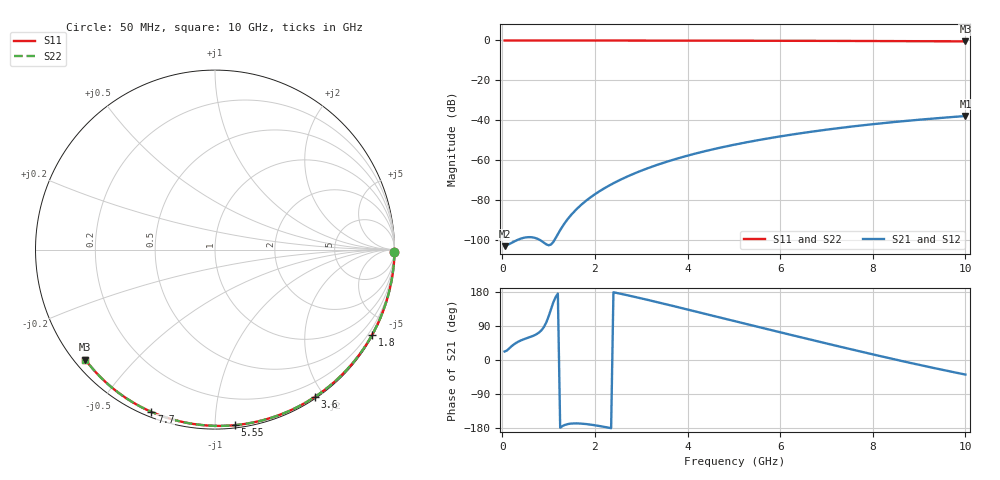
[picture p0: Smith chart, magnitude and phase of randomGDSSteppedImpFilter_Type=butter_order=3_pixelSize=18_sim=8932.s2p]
! freq	dB(S11)	phase(S11)	dB(S12)	phase(S12)
!  dB(S21)	phase(S21)	dB(S22)	phase(S22)
!S-par simulation data
#  GHz  S  DB  R 50
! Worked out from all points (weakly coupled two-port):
!   200 points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, 50 MHz to 10 GHz, reference 50 ohm
!   highest |S21| = -37.87 dB at 10 GHz (marker M1); lowest = -103.1 dB at 50 MHz (marker M2)
!   lowest |S11| = -0.5 dB at 10 GHz (marker M3), VSWR 36.95, Z = 1.54 - j18.3 ohm
!   |S11| at or under -10 dB: nowhere
!   |S22| runs from -0.5 to 0.0 dB; largest |S21 - S12| = 0
!   S11 on the Smith chart (normalised r, x): 50 MHz: open; 1.8 GHz: 0.03, -3.92; 3.6 GHz: 0.02, -1.88; 5.55 GHz: 0.02, -1.12; 7.7 GHz: 0.02, -0.68; 10 GHz: 0.03, -0.37
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0.05  -0.00 -0.8  -103.10 22.4  -103.10 22.4  -0.00 -0.8
0.45  -0.01 -7.3  -98.98 54.1  -98.98 54.1  -0.01 -7.3
0.9  -0.02 -14.5  -101.38 87.3  -101.38 87.3  -0.02 -14.5
1.75  -0.04 -27.9  -81.46 -168.3  -81.46 -168.3  -0.04 -27.9
1.8  -0.04 -28.6  -80.50 -168.9  -80.50 -168.9  -0.04 -28.6
1.85  -0.04 -29.4  -79.59 -169.6  -79.59 -169.6  -0.04 -29.4
2.05  -0.04 -32.5  -76.31 -173.2  -76.31 -173.2  -0.04 -32.5
2.25  -0.05 -35.6  -73.46 -177.6  -73.46 -177.6  -0.05 -35.6
2.55  -0.05 -40.2  -69.81 174.9  -69.81 174.9  -0.05 -40.2
2.95  -0.06 -46.3  -65.73 164.0  -65.73 164.0  -0.06 -46.3
3.4  -0.07 -53.0  -61.92 151.1  -61.92 151.1  -0.07 -53.0
3.6  -0.08 -55.9  -60.43 145.2  -60.43 145.2  -0.08 -55.9
3.9  -0.08 -60.3  -58.38 136.2  -58.38 136.2  -0.08 -60.3
4.3  -0.09 -66.1  -55.94 124.2  -55.94 124.2  -0.09 -66.1
5.05  -0.12 -76.6  -52.06 101.6  -52.06 101.6  -0.12 -76.6
5.55  -0.14 -83.4  -49.86 86.6  -49.86 86.6  -0.14 -83.4
6.1  -0.16 -90.8  -47.72 70.2  -47.72 70.2  -0.16 -90.8
6.7  -0.19 -98.6  -45.65 52.5  -45.65 52.5  -0.19 -98.6
7.7  -0.25 -111.4  -42.74 23.4  -42.74 23.4  -0.25 -111.4
8.35  -0.31 -119.5  -41.14 5.0  -41.14 5.0  -0.31 -119.5
9.2  -0.38 -129.9  -39.34 -18.0  -39.34 -18.0  -0.38 -129.9
10  -0.47 -139.7  -37.87 -38.4  -37.87 -38.4  -0.47 -139.7
